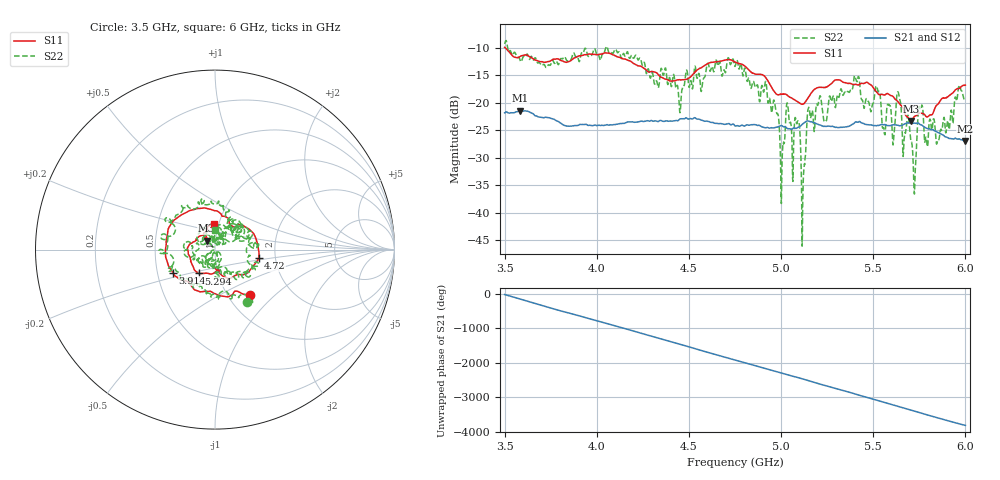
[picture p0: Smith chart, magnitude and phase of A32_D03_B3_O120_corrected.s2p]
! Created with skrf 1.9.0 (http://scikit-rf.org).
# Hz S RI R 50.0
!freq ReS11 ImS11 ReS21 ImS21 ReS12 ImS12 ReS22 ImS22
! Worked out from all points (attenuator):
!   1601 points, 3.5 GHz to 6 GHz, reference 50 ohm
!   highest |S21| = -21.40 dB at 3.586 GHz (marker M1); lowest = -26.9 dB at 6 GHz (marker M2)
!   lowest |S11| = -23.3 dB at 5.706 GHz (marker M3), VSWR 1.15, Z = 45.3 + j4.56 ohm
!   |S11| at or under -10 dB: 3.504 GHz to end of sweep
!   |S22| runs from -46.0 to -8.7 dB; largest |S21 - S12| = 0.00097
!   S11 on the Smith chart (normalised r, x): 3.5 GHz: 1.26, -0.71; 3.914 GHz: 0.60, -0.17; 4.72 GHz: 1.63, -0.17; 5.294 GHz: 0.81, -0.22; 6 GHz: 0.94, +0.28
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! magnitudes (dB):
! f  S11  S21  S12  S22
! 3.5 GHz  -9.9  -21.8  -21.8  -9.3
! 3.586 GHz  -11.5  -21.4  -21.4  -12.5
! 3.914 GHz  -11.4  -23.9  -23.9  -11.2
! 3.917 GHz  -11.4  -23.9  -23.9  -10.9
! 4.334 GHz  -14.9  -23.4  -23.3  -17.3
! 4.72 GHz  -12.1  -23.8  -23.8  -12.5
! 4.75 GHz  -12.6  -24.2  -24.1  -13.4
! 4.969 GHz  -18.2  -24.5  -24.4  -20.8
! 5.006 GHz  -18.4  -24.2  -24.2  -29.7
! 5.034 GHz  -18.7  -24.7  -24.6  -20.1
! 5.088 GHz  -19.7  -24.5  -24.5  -23.6
! 5.12 GHz  -20.2  -23.8  -23.7  -34.2
! 5.145 GHz  -19.2  -23.3  -23.2  -21.3
! 5.167 GHz  -18.0  -23.5  -23.4  -21.5
! 5.294 GHz  -15.9  -24.4  -24.4  -20.8
! 5.584 GHz  -18.4  -24.1  -24.1  -20.3
! 5.639 GHz  -20.0  -24.1  -24.1  -18.5
! 5.706 GHz  -23.3  -23.7  -23.7  -27.1
! 5.725 GHz  -22.4  -23.7  -23.6  -35.2
! 5.756 GHz  -21.8  -23.9  -23.9  -21.2
! 5.85 GHz  -20.3  -25.4  -25.3  -26.9
! 6 GHz  -16.8  -26.9  -26.8  -19.4
